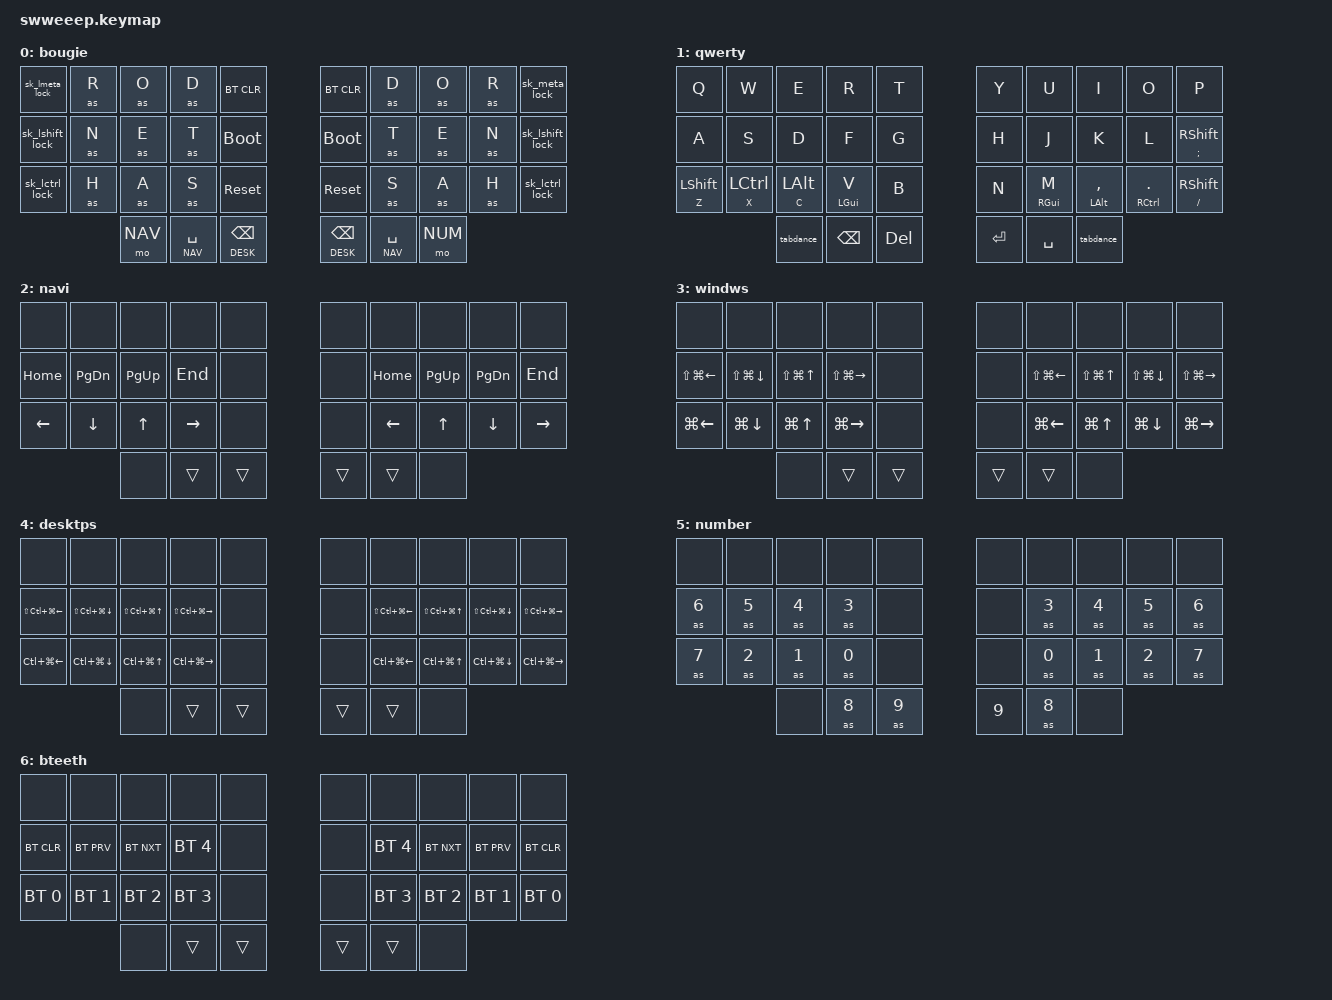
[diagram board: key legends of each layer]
/*

    Copyright (c) 2020 The ZMK Contributors

    SPDX-License-Identifier: MIT
    TODO: soft_off wake behavior
    */

#include <behaviors.dtsi>
#include <dt-bindings/zmk/bt.h>
#include <dt-bindings/zmk/keys.h>
#include <dt-bindings/zmk/outputs.h>
#include <dt-bindings/zmk/pointing.h>

// NOT BOUGIE KEYS
// LEFT SIDE
#define LCX 4
#define LCC 14
#define LCV 24
// RIGHT SIDE
#define RCX 5
#define RCC 15
#define RCV 25

// BOUGIE KEYS
// LEFT SIDE
#define TLP  0
#define TLR  1
#define TLM  2
#define TLI  3
#define HLP 10
#define HLR 11
#define HLM 12
#define HLI 13
#define BLP 20
#define BLR 21
#define BLM 22
#define BLI 23
#define LOT 32
#define LIT 31

// RIGHT SIDE
#define TRP  9
#define TRR  8
#define TRM  7
#define TRI  6
#define HRP 19
#define HRR 18
#define HRM 17
#define HRI 16
#define BRP 29
#define BRR 28
#define BRM 27
#define BRI 26
#define ROT 33
#define RIT 34

// LAYERS
#define BOU  0
#define QWE  1
#define NAV  2
#define WIN  3
#define DESK 4
#define NUM  5
#define BT   6

// CONFIG
#define COMBO_TIMEOUT 70
#define COMBO_LAYERS BOU NAV WIN DESK NUM BT
#define STICKY_TIMEOUT 1000
#define QUICK_TAP_TIMEOUT 125
#define HOLD_TAP_TIMEOUT 195

// BEHAVIOR REDEFINITIONS

&sk {
    release-after-ms = <STICKY_TIMEOUT>;
    quick-release;
    /delete-property/ ignore-modifiers;
};

&sl {
    release-after-ms = <STICKY_TIMEOUT>;
    quick-release;
    /delete-property/ ignore-modifiers;
};

&lt {
    #binding-cells = <2>;
    bindings = <&mo>, <&kp>;
    tapping-term-ms = <HOLD_TAP_TIMEOUT>;
    quick-tap-ms = <QUICK_TAP_TIMEOUT>;
    hold-while-undecided;
};
// MAIN NODE

/ {
    combos {
        compatible = "zmk,combos";
        #include "combos.dtsi"
    };

    behaviors {
        #include "behaviors.dtsi"
    };

    macros {
        #include "macros.dtsi"
    };

    keymap {
        compatible = "zmk,keymap";
  // Keymap diagram keys use this format:
  // |-----|
  // | TAP |
  // |HOLD |
  // |-----|
  // Tab Dance is a Tap dance with the following rules:
  // 1 tap - tab
  // 2 taps - toggle qwerty layer
  // 3 taps - nothing
  // 4 taps - reset
  // 5 taps - nothing
  // 6 taps - bootloader

        bougie {
  // |------------------------------                 -------------------------------
  // | BT0 | BT1 | BT2 | BT3 | C-x |                 | C-x | BT3 | BT2 | BT1 | BT0 |
  // |     |     |     |     |     |                 |     |     |     |     |     |
  // |------------------------------                 -------------------------------
  // | TAB |  I  |  O  |  N  | C-x |                 | C-c |  N  |  O  |  I  | TAB |
  // |DANCE|     |     |     |     |                 |     |     |     |     |DANCE|
  // |------------------------------                 -------------------------------
  // | &kr |  E  |  A  |  T  | C-v |                 | C-v |  T  |  A  |  E  | &kr |
  // |     |     |     |     |     |                 |     |     |     |     |     |
  // |------------------------------------     -------------------------------------
  //                   |     | SPC |BSPC |     |BSPC | SPC |     |
  //                   | NAV | NAV |DESK |     |DESK | NAV | NUM |
  //                   -------------------     -------------------
            display-name = "bougie";
            bindings = < 
  &sk_lmeta_lock  &as R        &as O        &as D        &bt BT_CLR            &bt BT_CLR    &as D        &as O        &as R        &sk_meta_lock
  &sk_lshift_lock &as N        &as E        &as T        &bootloader           &bootloader   &as T        &as E        &as N        &sk_lshift_lock
  &sk_lctrl_lock  &as H        &as A        &as S        &sys_reset            &sys_reset    &as S        &as A        &as H        &sk_lctrl_lock
                            &mo NAV      &lt NAV SPC  &lt DESK BSPC         &lt DESK BSPC &lt NAV SPC  &mo NUM
            >;
        };

        qwerty {
  // |------------------------------                 -------------------------------
  // |  Q  |  W  |  E  |  R  |  T  |                 |  Y  |  U  |  I  |  O  |  P  | t
  // |     |     |     |     |     |                 |     |     |     |     |     |
  // |------------------------------                 -------------------------------
  // |  A  |  S  |  D  |  F  |  G  |                 |  H  |  J  |  K  |  L  |  ;  |
  // |     |     |     |     |     |                 |     |     |     |     |SHIFT|
  // |------------------------------                 -------------------------------
  // |  Z  |  X  |  C  |  V  |  B  |                 |  N  |  M  |  ,  |  .  |  /  |
  // |SHIFT|CTRL |LALT | GUI |     |                 |     | GUI |LALT |CTRL |SHIFT|
  // |------------------------------------     -------------------------------------
  //                   | TAB |BSPC | DEL |     | RET | SPC | TAB |
  //                   |DANCE|     |     |     |     |     |DANCE|
  //                   -------------------     -------------------------
            display-name = "qwerty";
            bindings = <
  &kp Q         &kp W        &kp E       &kp R       &kp T                         &kp Y    &kp U       &kp I           &kp O          &kp P
  &kp A         &kp S        &kp D       &kp F       &kp G                         &kp H    &kp J       &kp K           &kp L          &mt SEMI RSHIFT
  &mt Z LSHIFT  &mt X LCTRL  &mt C LALT  &mt LGUI V  &kp B                         &kp N    &mt RGUI M  &mt LALT COMMA  &mt RCTRL DOT  &mt FSLH RSHIFT
                                         &tabdance   &kp BSPC  &kp DEL    &kp RET  &kp SPC  &tabdance
            >;
        };

        navigation {
  // |------------------------------                 -------------------------------
  // |     |     |     |     |     |                 |     |     |     |     |     |
  // |     |     |     |     |     |                 |     |     |     |     |     |
  // |------------------------------                 -------------------------------
  // | HOM |PG_UP|PG_DN| END |     |                 |     | HOM |PG_UP|PG_DN| END |
  // |     |     |     |     |     |                 |     |     |     |     |     |
  // |------------------------------                 -------------------------------
  // |  <- |  ↓  |  ↑  |  -> |     |                 |     | <-- |  ↓  |  ↑  |  -> |
  // |     |     |     |     |     |                 |     |     |     |     |     |
  // |------------------------------------     -------------------------------------
  //                   |     |BSPC | SPC |     | SPC |BSPC |     |
  //                   |     | WIN | NAV |     | NAV | WIN |     |
  //                   -------------------     -------------------
            display-name = "navi";
            bindings = <
  &none     &none     &none      &none      &none    &none  &none     &none      &none      &none
  &kp HOME  &kp PG_DN &kp PG_UP  &kp END    &none    &none  &kp HOME  &kp PG_UP  &kp PG_DN  &kp END
  &kp LEFT  &kp DOWN  &kp UP     &kp RIGHT  &none    &none  &kp LEFT  &kp UP     &kp DOWN   &kp RIGHT
                      &none      &trans     &trans   &trans &trans    &none
            >;
        };
        windows {
            // Arrows from Nav but with Gui/Shift-Gui - move windows around the screen
            display-name = "windws";
            bindings = <
  &none             &none             &none           &none              &none    &none  &none             &none           &none             &none
  &kp LS(LG(LEFT))  &kp LS(LG(DOWN))  &kp LS(LG(UP))  &kp LS(LG(RIGHT))  &none    &none  &kp LS(LG(LEFT))  &kp LS(LG(UP))  &kp LS(LG(DOWN))  &kp LS(LG(RIGHT))
  &kp LG(LEFT)      &kp LG(DOWN)      &kp LG(UP)      &kp LG(RIGHT)      &none    &none  &kp LG(LEFT)      &kp LG(UP)      &kp LG(DOWN)      &kp LG(RIGHT)
                                      &none           &trans             &trans   &trans &trans            &none
            >;
        };

        desktops {
            // Arrows from Nav but with Ctrl-Gui/Shift-Ctrl-Gui - move around and move windows around the desktops      
            display-name = "desktps";
            bindings = <
  &none                &none                 &none                &none                  &none    &none  &none                  &none                &none                 &none
  &kp LS(LC(LG(LEFT))) &kp LS(LC(LG(DOWN)))  &kp LS(LC(LG(UP)))   &kp LS(LC(LG(RIGHT)))  &none    &none  &kp LS(LC(LG(LEFT)))   &kp LS(LC(LG(UP)))   &kp LS(LC(LG(DOWN)))  &kp LS(LC(LG(RIGHT)))
  &kp LC(LG(LEFT))     &kp LC(LG(DOWN))      &kp LC(LG(UP))       &kp LC(LG(RIGHT))      &none    &none  &kp LC(LG(LEFT))       &kp LC(LG(UP))       &kp LC(LG(DOWN))      &kp LC(LG(RIGHT))
                                             &none                &trans                 &trans   &trans &trans                 &none
            >;
        };

        numbers {
  // |------------------------------                 -------------------------------
  // |     |     |     |     |     |                 |     |     |     |     |     |
  // |     |     |     |     |     |                 |     |     |     |     |     |
  // |------------------------------                 -------------------------------
  // |  6  |  5  |  4  |  3  |     |                 |     |  3  |  4  |  5  |  6  |
  // |     |     |     |     |     |                 |     |     |     |     |     |
  // |------------------------------                 -------------------------------
  // |  7  |  2  |  1  |  0  |     |                 |     |  0  |  1  |  2  |  7  |
  // |     |     |     |     |     |                 |     |     |     |     |     |
  // |------------------------------------     -------------------------------------
  //                   |     |  8  |  9  |     |  9  |  8  |     |
  //                   |     |     |     |     |     |     |     |
  //                   -------------------     -------------------
            display-name = "number";
            bindings = <
  &none   &none   &none   &none   &none                   &none   &none   &none   &none   &none
  &as N6  &as N5  &as N4  &as N3  &none                   &none   &as N3  &as N4  &as N5  &as N6
  &as N7  &as N2  &as N1  &as N0  &none                   &none   &as N0  &as N1  &as N2  &as N7
                          &none   &as N8  &as N9  &kp N9  &as N8  &none
            >;
        };

        bt {
  // |------------------------------                 -------------------------------
  // |     |     |     |     |     |                 |     |     |     |     |     |
  // |     |     |     |     |     |                 |     |     |     |     |     |
  // |------------------------------                 -------------------------------
  // |BTCLR|BTPRV|BTNXT| BT4 |     |                 |     | BT4 |BTNXT|BTPRV|BTCLR|
  // |     |     |     |     |     |                 |     |     |     |     |     |
  // |------------------------------                 -------------------------------
  // | BT0 | BT1 | BT2 | BT3 |     |                 |     | BT3 | BT2 | BT1 | BT0 |
  // |     |     |     |     |     |                 |     |     |     |     |     |
  // |------------------------------------     -------------------------------------
  //                   |     |     |     |     |     |     |     |
  //                   |     |     |     |     |     |     |     |
  //                   -------------------     -------------------
            display-name = "bteeth";
            bindings = <
  &none           &none         &none         &none         &none                   &none   &none         &none         &none         &none
  &bt BT_CLR      &bt BT_PRV    &bt BT_NXT    &bt BT_SEL 4  &none                   &none   &bt BT_SEL 4  &bt BT_NXT    &bt BT_PRV    &bt BT_CLR
  &bt BT_SEL 0    &bt BT_SEL 1  &bt BT_SEL 2  &bt BT_SEL 3  &none                   &none   &bt BT_SEL 3  &bt BT_SEL 2  &bt BT_SEL 1  &bt BT_SEL 0
                                              &none         &trans  &trans  &trans  &trans  &none
            >;
        };

    conditional_layers {
        compatible = "zmk,conditional-layers";
        WIN {
            if-layers = <NAV DESK>;
            then-layer = <WIN>;
        };
    };


    };
};
